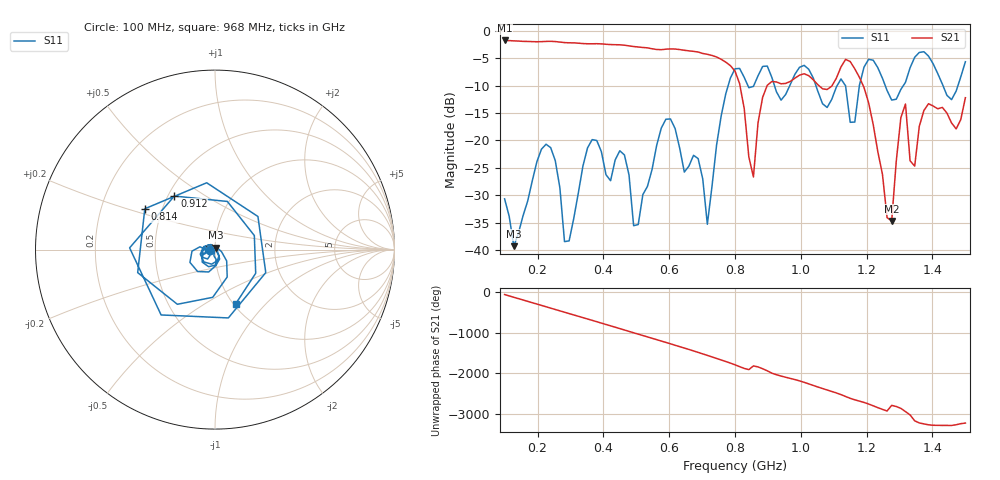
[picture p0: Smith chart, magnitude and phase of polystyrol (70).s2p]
! NanoVNA-App
! Date: 2025-09-26 09:42:25
! Start: 100MHz Stop: 1,5GHz Points: 101
! S-Parameter data: F S11 S21 S12 S22
# Hz S RI R 50
!  Frequency  S11_Real  S11_Imag  S21_Real  S21_Imag  S12_Real  S12_Imag  S22_Real  S22_Imag
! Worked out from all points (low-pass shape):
!   101 points, 100 MHz to 1.5 GHz, reference 50 ohm
!   highest |S21| = -1.79 dB at 100 MHz (marker M1); lowest = -34.7 dB at 1.276 GHz (marker M2)
!   |S21| within 3 dB of the highest: start of sweep to 743.2 MHz
!   lowest |S11| = -39.3 dB at 128 MHz (marker M3), VSWR 1.02, Z = 50.3 + j1.05 ohm
!   |S11| at or under -10 dB: start of sweep to 779.3 MHz; 1.046 GHz to 1.111 GHz (64.85 MHz wide, 6.01 % of centre); 1.256 GHz to 1.312 GHz (55.32 MHz wide, 4.31 % of centre)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
!   S12 and S22 are empty: the file has one direction only
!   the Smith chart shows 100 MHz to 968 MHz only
!   S11 on the Smith chart (normalised r, x): 100 MHz: 0.94, -0.01; 814 MHz: 0.40, +0.23; 912 MHz: 0.54, +0.37; 968 MHz: 1.03, -0.69
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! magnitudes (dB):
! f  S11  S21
! 100 MHz  -30.7  -1.8
! 128 MHz  -39.3  -1.9
! 212 MHz  -21.6  -2.0
! 282 MHz  -38.4  -2.2
! 338 MHz  -24.7  -2.4
! 464 MHz  -22.6  -2.7
! 506 MHz  -35.3  -3.0
! 576 MHz  -17.8  -3.5
! 688 MHz  -23.3  -3.9
! 716 MHz  -35.3  -4.3
! 800 MHz  -6.9  -7.4
! 814 MHz  -6.9  -9.7
! 856 MHz  -10.2  -26.7
! 912 MHz  -8.5  -9.3
! 968 MHz  -9.8  -9.3
! 1.038 GHz  -8.7  -9.0
! 1.164 GHz  -16.7  -7.0
! 1.206 GHz  -5.2  -13.1
! 1.276 GHz  -12.6  -34.7
! 1.318 GHz  -9.4  -13.4
! 1.346 GHz  -4.8  -24.7
! 1.5 GHz  -5.7  -12.2
